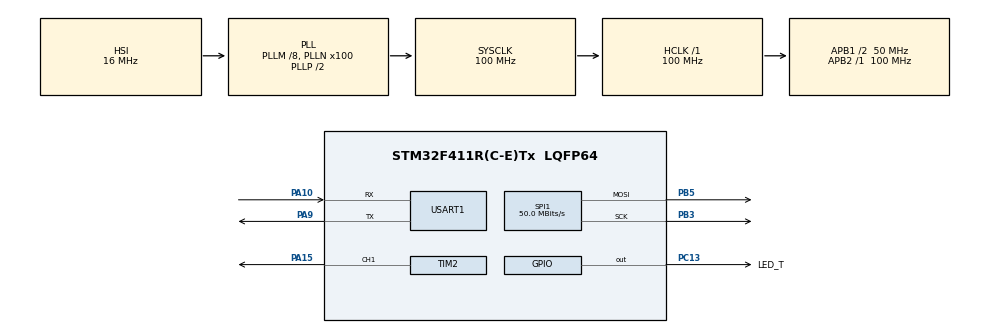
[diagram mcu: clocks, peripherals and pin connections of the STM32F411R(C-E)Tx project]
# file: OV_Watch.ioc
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Dma.Request0=SPI1_TX
Dma.Request1=USART1_RX
Dma.Request2=USART1_TX
Dma.SPI1_TX.0.Direction=DMA_MEMORY_TO_PERIPH
Dma.SPI1_TX.0.FIFOMode=DMA_FIFOMODE_DISABLE
Dma.SPI1_TX.0.Instance=DMA2_Stream2
Dma.SPI1_TX.0.MemDataAlignment=DMA_MDATAALIGN_HALFWORD
Dma.SPI1_TX.0.MemInc=DMA_MINC_ENABLE
Dma.SPI1_TX.0.Mode=DMA_NORMAL
Dma.SPI1_TX.0.PeriphDataAlignment=DMA_PDATAALIGN_HALFWORD
Dma.SPI1_TX.0.PeriphInc=DMA_PINC_DISABLE
Dma.SPI1_TX.0.Priority=DMA_PRIORITY_LOW
Dma.USART1_RX.1.Direction=DMA_PERIPH_TO_MEMORY
Dma.USART1_RX.1.FIFOMode=DMA_FIFOMODE_DISABLE
Dma.USART1_RX.1.Instance=DMA2_Stream5
Dma.USART1_RX.1.MemDataAlignment=DMA_MDATAALIGN_BYTE
Dma.USART1_RX.1.MemInc=DMA_MINC_ENABLE
Dma.USART1_RX.1.Mode=DMA_NORMAL
Dma.USART1_RX.1.PeriphDataAlignment=DMA_PDATAALIGN_BYTE
Dma.USART1_RX.1.PeriphInc=DMA_PINC_DISABLE
Dma.USART1_RX.1.Priority=DMA_PRIORITY_LOW
Dma.USART1_TX.2.Direction=DMA_MEMORY_TO_PERIPH
Dma.USART1_TX.2.FIFOMode=DMA_FIFOMODE_DISABLE
Dma.USART1_TX.2.Instance=DMA2_Stream7
Dma.USART1_TX.2.MemDataAlignment=DMA_MDATAALIGN_BYTE
Dma.USART1_TX.2.MemInc=DMA_MINC_ENABLE
Dma.USART1_TX.2.Mode=DMA_NORMAL
Dma.USART1_TX.2.PeriphDataAlignment=DMA_PDATAALIGN_BYTE
Dma.USART1_TX.2.PeriphInc=DMA_PINC_DISABLE
Dma.USART1_TX.2.Priority=DMA_PRIORITY_LOW
FREERTOS.Tasks01=defaultTask,24,128,StartDefaultTask,Default,NULL,Dynamic,NULL,NULL
FREERTOS.configUSE_IDLE_HOOK=1
FREERTOS.configUSE_TICK_HOOK=1
Mcu.Family=STM32F4
Mcu.Name=STM32F411R(C-E)Tx
Mcu.Package=LQFP64
NVIC.DMA2_Stream2_IRQn=true\:5\:0\:false\:false\:true\:true\:false\:true\:true
NVIC.DMA2_Stream5_IRQn=true\:5\:0\:false\:false\:true\:true\:false\:true\:true
NVIC.DMA2_Stream7_IRQn=true\:5\:0\:false\:false\:true\:true\:false\:true\:true
NVIC.PriorityGroup=NVIC_PRIORITYGROUP_4
NVIC.RTC_WKUP_IRQn=true\:5\:0\:false\:false\:true\:true\:true\:true\:true
NVIC.TIM1_TRG_COM_TIM11_IRQn=true\:15\:0\:false\:false\:true\:false\:false\:true\:true
NVIC.TimeBase=TIM1_TRG_COM_TIM11_IRQn
NVIC.TimeBaseIP=TIM11
NVIC.USART1_IRQn=true\:5\:0\:false\:false\:true\:true\:true\:true\:true
PA10.Mode=Asynchronous
PA10.Signal=USART1_RX
PA15.Signal=S_TIM2_CH1_ETR
PA9.Mode=Asynchronous
PA9.Signal=USART1_TX
PB3.Mode=TX_Only_Simplex_Unidirect_Master
PB3.Signal=SPI1_SCK
PB5.Mode=TX_Only_Simplex_Unidirect_Master
PB5.Signal=SPI1_MOSI
PC13-ANTI_TAMP.GPIO_Label=LED_T
PC13-ANTI_TAMP.PinState=GPIO_PIN_SET
PC13-ANTI_TAMP.Signal=GPIO_Output
PC14-OSC32_IN.Mode=LSE-External-Oscillator
PC14-OSC32_IN.Signal=RCC_OSC32_IN
PC15-OSC32_OUT.Mode=LSE-External-Oscillator
PC15-OSC32_OUT.Signal=RCC_OSC32_OUT
PH0\ -\ OSC_IN.Mode=HSE-External-Oscillator
PH0\ -\ OSC_IN.Signal=RCC_OSC_IN
PH1\ -\ OSC_OUT.Mode=HSE-External-Oscillator
PH1\ -\ OSC_OUT.Signal=RCC_OSC_OUT
ProjectManager.HeapSize=0x200
ProjectManager.StackSize=0x400
ProjectManager.TargetToolchain=MDK-ARM V5.32
RCC.48MHZClocksFreq_Value=50000000
RCC.AHBFreq_Value=100000000
RCC.APB1CLKDivider=RCC_HCLK_DIV2
RCC.APB1Freq_Value=50000000
RCC.APB1TimFreq_Value=100000000
RCC.APB2Freq_Value=100000000
RCC.APB2TimFreq_Value=100000000
RCC.CortexFreq_Value=100000000
RCC.HCLKFreq_Value=100000000
RCC.HSE_VALUE=25000000
RCC.HSI_VALUE=16000000
RCC.PLLM=8
RCC.PLLN=100
RCC.SYSCLKFreq_VALUE=100000000
RCC.SYSCLKSource=RCC_SYSCLKSOURCE_PLLCLK
RCC.VCOOutputFreq_Value=200000000
RTC.Hours=11
RTC.Minutes=59
RTC.Seconds=50
RTC.WakeUpCounter=2000
RTC.Year=24
SH.S_TIM2_CH1_ETR.0=TIM2_CH1,PWM Generation1 CH1
SPI1.CLKPhase=SPI_PHASE_2EDGE
SPI1.CLKPolarity=SPI_POLARITY_HIGH
SPI1.CalculateBaudRate=50.0 MBits/s
SPI1.Direction=SPI_DIRECTION_2LINES
SPI1.Mode=SPI_MODE_MASTER
SPI1.VirtualType=VM_MASTER
TIM2.Channel-PWM\ Generation1\ CH1=TIM_CHANNEL_1
TIM2.Period=300
TIM2.Prescaler=99
USART1.VirtualMode=VM_ASYNC
VP_FREERTOS_VS_CMSIS_V2.Mode=CMSIS_V2
VP_RTC_VS_RTC_Activate.Mode=RTC_Enabled
VP_RTC_VS_RTC_WakeUp_intern.Mode=WakeUp
VP_SYS_VS_tim11.Mode=TIM11
board=custom

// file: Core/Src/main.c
/* USER CODE BEGIN Header */
/**
  ******************************************************************************
  * @file           : main.c
  * @brief          : Main program body
  ******************************************************************************
  * @attention
  *
  * Copyright (c) 2024 STMicroelectronics.
  * All rights reserved.
  *
  * This software is licensed under terms that can be found in the LICENSE file
  * in the root directory of this software component.
  * If no LICENSE file comes with this software, it is provided AS-IS.
  *
  ******************************************************************************
  */
/* USER CODE END Header */
#include "main.h"
#include "cmsis_os.h"
#include "dma.h"
#include "rtc.h"
#include "spi.h"
#include "tim.h"
#include "usart.h"
#include "gpio.h"

/* USER CODE BEGIN Includes */
#include "stm32f4xx_it.h"
#include "lcd.h"
#include "lcd_init.h"
#include "CST816.h"
#include "key.h"
//gui
#include "lvgl.h"
#include "lv_port_disp.h"
#include "lv_port_indev.h"
#include "ui.h"
/* USER CODE END Includes */

void SystemClock_Config(void);
void MX_FREERTOS_Init(void);

int main(void)
{

  /* MCU Configuration--------------------------------------------------------*/

  /* Reset of all peripherals, Initializes the Flash interface and the Systick. */
  HAL_Init();

  /* Configure the system clock */
  SystemClock_Config();

  /* Initialize all configured peripherals */
  MX_GPIO_Init();
  MX_DMA_Init();
  MX_SPI1_Init();
  MX_RTC_Init();
  MX_USART1_UART_Init();
  MX_TIM2_Init();
  /* USER CODE BEGIN 2 */

  //RTC Wake
	if(HAL_RTCEx_SetWakeUpTimer_IT(&hrtc, 2000, RTC_WAKEUPCLOCK_RTCCLK_DIV16) != HAL_OK)
  {
    Error_Handler();
  }
	//usart start
	HAL_UART_Receive_DMA(&huart1,(uint8_t*)HardInt_receive_str,25);
	__HAL_UART_ENABLE_IT(&huart1,UART_IT_IDLE);

	//PWM Start
	HAL_TIM_PWM_Start(&htim2,TIM_CHANNEL_1);

  //sys delay
	delay_init();

	//key
	Key_Port_Init();

	//touch
	CST816_GPIO_Init();
	CST816_RESET();

	//lcd
	LCD_Init();
	LCD_Fill(0,0,LCD_W,LCD_H,BLACK);
	delay_ms(10);
  LCD_Set_Light(50);
	LCD_ShowString(72,LCD_H/2-20,(uint8_t*)"Welcome!",WHITE,BLACK,24,0);//12*6,16*8,24*12,32*16
	LCD_ShowString(42,LCD_H/2+48-20,(uint8_t*)"OV-Watch V2.3",WHITE,BLACK,24,0);
	delay_ms(1000);
	LCD_Fill(0,LCD_H/2-24-20,LCD_W,LCD_H/2+49-20,BLACK);

  //LVGL init
	lv_init();
	lv_port_disp_init();
	lv_port_indev_init();
	ui_init();

  /* USER CODE END 2 */

  /* Init scheduler */
  osKernelInitialize();  /* Call init function for freertos objects (in freertos.c) */
  MX_FREERTOS_Init();

  /* Start scheduler */
  osKernelStart();

  /* We should never get here as control is now taken by the scheduler */
  /* Infinite loop */
  while (1)
  {

    /* USER CODE BEGIN 3 */
		HAL_Delay(500);
		HAL_GPIO_TogglePin(GPIOC,GPIO_PIN_13);
  }
  /* USER CODE END 3 */
}

void SystemClock_Config(void)
{
  RCC_OscInitTypeDef RCC_OscInitStruct = {0};
  RCC_ClkInitTypeDef RCC_ClkInitStruct = {0};

  /** Configure the main internal regulator output voltage
  */
  __HAL_RCC_PWR_CLK_ENABLE();
  __HAL_PWR_VOLTAGESCALING_CONFIG(PWR_REGULATOR_VOLTAGE_SCALE1);

  /** Initializes the RCC Oscillators according to the specified parameters
  * in the RCC_OscInitTypeDef structure.
  */
  RCC_OscInitStruct.OscillatorType = RCC_OSCILLATORTYPE_HSI|RCC_OSCILLATORTYPE_LSI;
  RCC_OscInitStruct.HSIState = RCC_HSI_ON;
  RCC_OscInitStruct.HSICalibrationValue = RCC_HSICALIBRATION_DEFAULT;
  RCC_OscInitStruct.LSIState = RCC_LSI_ON;
  RCC_OscInitStruct.PLL.PLLState = RCC_PLL_ON;
  RCC_OscInitStruct.PLL.PLLSource = RCC_PLLSOURCE_HSI;
  RCC_OscInitStruct.PLL.PLLM = 8;
  RCC_OscInitStruct.PLL.PLLN = 100;
  RCC_OscInitStruct.PLL.PLLP = RCC_PLLP_DIV2;
  RCC_OscInitStruct.PLL.PLLQ = 4;
  if (HAL_RCC_OscConfig(&RCC_OscInitStruct) != HAL_OK)
  {
    Error_Handler();
  }

  /** Initializes the CPU, AHB and APB buses clocks
  */
  RCC_ClkInitStruct.ClockType = RCC_CLOCKTYPE_HCLK|RCC_CLOCKTYPE_SYSCLK
                              |RCC_CLOCKTYPE_PCLK1|RCC_CLOCKTYPE_PCLK2;
  RCC_ClkInitStruct.SYSCLKSource = RCC_SYSCLKSOURCE_PLLCLK;
  RCC_ClkInitStruct.AHBCLKDivider = RCC_SYSCLK_DIV1;
  RCC_ClkInitStruct.APB1CLKDivider = RCC_HCLK_DIV2;
  RCC_ClkInitStruct.APB2CLKDivider = RCC_HCLK_DIV1;

  if (HAL_RCC_ClockConfig(&RCC_ClkInitStruct, FLASH_LATENCY_3) != HAL_OK)
  {
    Error_Handler();
  }
}

void HAL_TIM_PeriodElapsedCallback(TIM_HandleTypeDef *htim)
{
  if (htim->Instance == TIM11) {
    HAL_IncTick();
  }
}

void Error_Handler(void)
{
  __disable_irq();
  while (1)
  {
  }
}

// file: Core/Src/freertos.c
/* USER CODE BEGIN Header */
/**
  ******************************************************************************
  * File Name          : freertos.c
  * Description        : Code for freertos applications
  ******************************************************************************
  * @attention
  *
  * Copyright (c) 2024 STMicroelectronics.
  * All rights reserved.
  *
  * This software is licensed under terms that can be found in the LICENSE file
  * in the root directory of this software component.
  * If no LICENSE file comes with this software, it is provided AS-IS.
  *
  ******************************************************************************
  */
/* USER CODE END Header */

#include "FreeRTOS.h"
#include "task.h"
#include "main.h"
#include "cmsis_os.h"

/* USER CODE BEGIN Includes */
#include "user_TasksInit.h"
/* USER CODE END Includes */

/* Definitions for defaultTask */
osThreadId_t defaultTaskHandle;
const osThreadAttr_t defaultTask_attributes = {
  .name = "defaultTask",
  .stack_size = 128 * 4,
  .priority = (osPriority_t) osPriorityNormal,
};

void StartDefaultTask(void *argument);

void MX_FREERTOS_Init(void); /* (MISRA C 2004 rule 8.1) */

/* Hook prototypes */
void vApplicationIdleHook(void);
void vApplicationTickHook(void);

/* USER CODE BEGIN 2 */
void vApplicationIdleHook( void )
{
   /* vApplicationIdleHook() will only be called if configUSE_IDLE_HOOK is set
   to 1 in FreeRTOSConfig.h. It will be called on each iteration of the idle
   task. It is essential that code added to this hook function never attempts
   to block in any way (for example, call xQueueReceive() with a block time
   specified, or call vTaskDelay()). If the application makes use of the
   vTaskDelete() API function (as this demo application does) then it is also
   important that vApplicationIdleHook() is permitted to return to its calling
   function, because it is the responsibility of the idle task to clean up
   memory allocated by the kernel to any task that has since been deleted. */
}
/* USER CODE END 2 */

/* USER CODE BEGIN 3 */
void vApplicationTickHook( void )
{
   /* This function will be called by each tick interrupt if
   configUSE_TICK_HOOK is set to 1 in FreeRTOSConfig.h. User code can be
   added here, but the tick hook is called from an interrupt context, so
   code must not attempt to block, and only the interrupt safe FreeRTOS API
   functions can be used (those that end in FromISR()). */
	TaskTickHook();
}
/* USER CODE END 3 */

void MX_FREERTOS_Init(void) {
  /* USER CODE BEGIN Init */
	User_Tasks_Init();
  /* USER CODE END Init */

  /* Create the thread(s) */
  /* creation of defaultTask */
  defaultTaskHandle = osThreadNew(StartDefaultTask, NULL, &defaultTask_attributes);

}

void StartDefaultTask(void *argument)
{
  /* USER CODE BEGIN StartDefaultTask */
  /* Infinite loop */
  for(;;)
  {
		HAL_GPIO_TogglePin(GPIOC,GPIO_PIN_13);
    osDelay(500);
  }
  /* USER CODE END StartDefaultTask */
}
